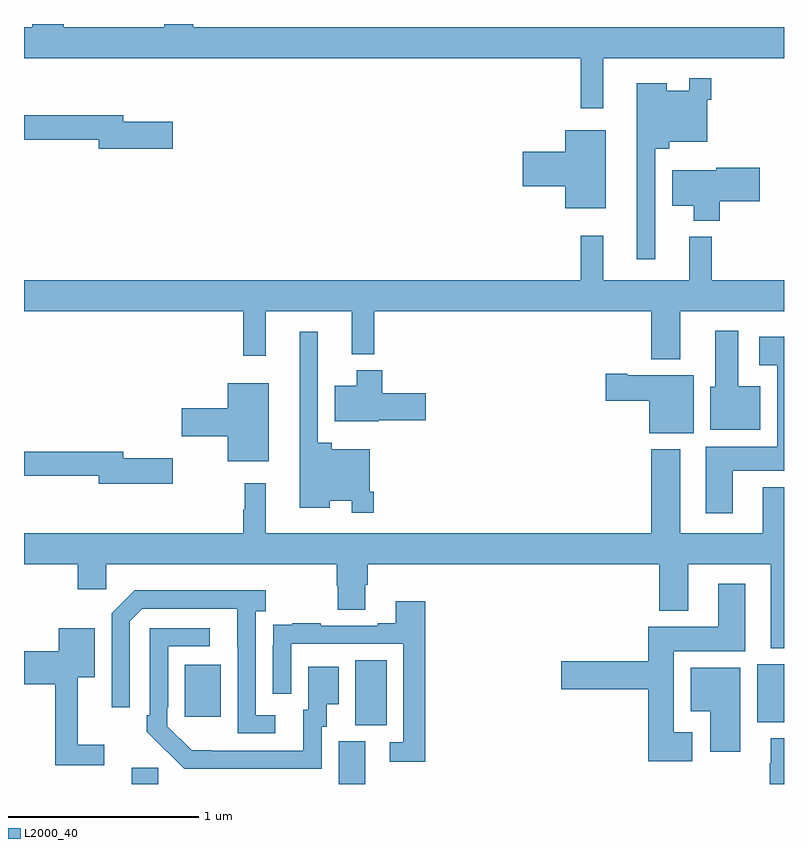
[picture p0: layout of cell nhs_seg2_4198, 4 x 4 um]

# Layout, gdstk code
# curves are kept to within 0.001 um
import gdstk
lib = gdstk.Library(unit=1e-6, precision=1e-09)
def R(c, l, rs):  # rectangles x0, y0, x1, y1
    for r in rs: c.add(gdstk.rectangle(r[:2], r[2:], *l))
def P(c, l, *ps):  # polygons
    for p in ps: c.add(gdstk.Polygon(p, *l))
L2000_40 = (2000, 40)

nhs_seg2_4198 = lib.new_cell('nhs_seg2_4198')
R(nhs_seg2_4198, L2000_40, [(337.568,659.8,337.707,659.886), (338.657,659.8,338.797,660.024), (338.744,660.109,338.908,660.452), (340.859,660.125,341,660.43), (337.847,660.153,338.035,660.427)])
P(nhs_seg2_4198, L2000_40, [(340.048,663.62),(341,663.62),(341,663.784),(337.891,663.784),(337.891,663.8),(337.739,663.8),(337.739,663.784),(337.208,663.784),(337.208,663.8),(337.043,663.8),(337.043,663.784),(337,663.784),(337,663.62),(339.931,663.62),(339.931,663.357),(340.048,663.357)],
  [(340.323,663.143),(340.397,663.143),(340.397,663.179),(340.596,663.179),(340.596,663.401),(340.616,663.401),(340.616,663.514),(340.5,663.514),(340.5,663.448),(340.384,663.448),(340.384,663.487),(340.226,663.487),(340.226,662.562),(340.323,662.562)],
  [(337.783,663.285),(337.522,663.285),(337.522,663.319),(337,663.319),(337,663.19),(337.394,663.19),(337.394,663.143),(337.783,663.143)],
  [(340.063,663.241),(339.848,663.241),(339.848,663.128),(339.624,663.128),(339.624,662.945),(339.848,662.945),(339.848,662.831),(340.063,662.831)],
  [(340.661,662.866),(340.873,662.866),(340.873,663.044),(340.644,663.044),(340.644,663.031),(340.412,663.031),(340.412,662.843),(340.526,662.843),(340.526,662.765),(340.661,662.765)],
  [(340.049,662.686),(339.931,662.686),(339.931,662.452),(337,662.452),(337,662.288),(338.155,662.288),(338.155,662.055),(338.273,662.055),(338.273,662.288),(338.726,662.288),(338.726,662.063),(338.843,662.063),(338.843,662.288),(340.301,662.288),(340.301,662.036),(340.453,662.036),(340.453,662.288),(341,662.288),(341,662.452),(340.619,662.452),(340.619,662.68),(340.502,662.68),(340.502,662.452),(340.049,662.452)],
  [(340.876,661.894),(340.759,661.894),(340.759,662.185),(340.637,662.185),(340.637,661.89),(340.613,661.89),(340.613,661.664),(340.876,661.664)],
  [(338.84,661.339),(338.82,661.339),(338.82,661.561),(338.621,661.561),(338.621,661.597),(338.547,661.597),(338.547,662.179),(338.45,662.179),(338.45,661.253),(338.608,661.253),(338.608,661.292),(338.724,661.292),(338.724,661.227),(338.84,661.227)],
  [(340.729,661.448),(341,661.448),(341,662.155),(340.869,662.155),(340.869,662.003),(340.964,662.003),(340.964,661.576),(340.589,661.576),(340.589,661.224),(340.729,661.224)],
  [(338.868,661.715),(339.115,661.715),(339.115,661.857),(338.885,661.857),(338.885,661.978),(338.75,661.978),(338.75,661.897),(338.636,661.897),(338.636,661.709),(338.868,661.709)],
  [(340.525,661.951),(340.174,661.951),(340.174,661.959),(340.062,661.959),(340.062,661.817),(340.292,661.817),(340.292,661.646),(340.525,661.646)],
  [(338.287,661.909),(338.072,661.909),(338.072,661.778),(337.83,661.778),(337.83,661.631),(338.072,661.631),(338.072,661.499),(338.287,661.499)],
  [(341,661.363),(340.889,661.363),(340.889,661.12),(340.453,661.12),(340.453,661.561),(340.301,661.561),(340.301,661.12),(338.272,661.12),(338.272,661.384),(338.163,661.384),(338.163,661.244),(338.155,661.244),(338.155,661.12),(337,661.12),(337,660.956),(337.283,660.956),(337.283,660.825),(337.434,660.825),(337.434,660.956),(338.645,660.956),(338.645,660.843),(338.65,660.843),(338.65,660.718),(338.797,660.718),(338.797,660.85),(338.81,660.85),(338.81,660.956),(340.343,660.956),(340.343,660.713),(340.495,660.713),(340.495,660.956),(340.931,660.956),(340.931,660.515),(341,660.515)],
  [(337.783,661.514),(337.522,661.514),(337.522,661.55),(337,661.55),(337,661.422),(337.394,661.422),(337.394,661.379),(337.783,661.379)],
  [(340.516,660.073),(340.42,660.073),(340.42,660.5),(340.795,660.5),(340.795,660.853),(340.655,660.853),(340.655,660.628),(340.286,660.628),(340.286,660.446),(339.828,660.446),(339.828,660.299),(340.286,660.299),(340.286,659.921),(340.516,659.921)],
  [(338.323,660.162),(338.22,660.162),(338.22,660.71),(338.272,660.71),(338.272,660.82),(337.582,660.82),(337.461,660.699),(337.461,660.204),(337.557,660.204),(337.557,660.657),(337.623,660.723),(338.123,660.723),(338.124,660.066),(338.323,660.066)],
  [(339.113,660.763),(338.957,660.763),(338.957,660.646),(338.861,660.646),(338.861,660.633),(338.561,660.633),(338.561,660.646),(338.413,660.646),(338.413,660.639),(338.311,660.639),(338.311,660.53),(338.31,660.53),(338.31,660.276),(338.406,660.276),(338.406,660.537),(338.997,660.537),(338.997,660.021),(338.925,660.021),(338.925,659.916),(339.113,659.916)],
  [(338.568,660.102),(338.593,660.102),(338.593,660.221),(338.656,660.221),(338.656,660.418),(338.495,660.418),(338.495,660.192),(338.471,660.192),(338.471,659.976),(337.884,659.977),(337.755,660.105),(337.755,660.205),(337.758,660.205),(337.758,660.525),(337.978,660.525),(337.978,660.621),(337.662,660.621),(337.662,660.163),(337.647,660.163),(337.647,660.075),(337.844,659.88),(338.568,659.88)],
  [(337.423,660.007),(337.283,660.007),(337.283,660.362),(337.372,660.362),(337.372,660.619),(337.184,660.619),(337.184,660.498),(337,660.498),(337,660.326),(337.165,660.326),(337.165,659.898),(337.423,659.898)],
  [(340.771,660.412),(340.508,660.412),(340.508,660.182),(340.613,660.182),(340.613,659.97),(340.771,659.97)],
  [(341,660.04),(340.931,660.04),(340.931,659.909),(340.924,659.909),(340.924,659.8),(341,659.8)])

lib.write_gds('nhs_seg2_4198.gds')
